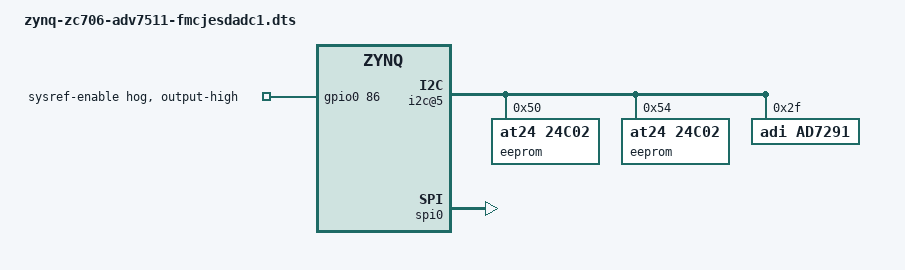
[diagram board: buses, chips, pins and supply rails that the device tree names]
// SPDX-License-Identifier: GPL-2.0
/*
 * Analog Devices AD-FMCOMMS11-EBZ
 * https://wiki.analog.com/resources/eval/user-guides/ad-fmcjesdadc1-ebz
 *
 * hdl_project: <fmcjesdadc1/zc706>
 * board_revision: <>
 *
 * Copyright (C) 2014-2020 Analog Devices Inc.
*/
/dts-v1/;

#include "zynq-zc706.dtsi"
#include "zynq-zc706-adv7511.dtsi"
#include <dt-bindings/jesd204/adxcvr.h>

&i2c_mux {
	i2c@5 { /* HPC IIC */
		#address-cells = <1>;
		#size-cells = <0>;
		reg = <5>;

		eeprom@50 {
			compatible = "at24,24c02";
			reg = <0x50>;
		};

		eeprom@54 {
			compatible = "at24,24c02";
			reg = <0x54>;
		};

		ad7291@2f {
			compatible = "adi,ad7291";
			reg = <0x2f>;
		};
	};
};

&fpga_axi {
	rx_dma0: rx-dmac@7c420000 {
		compatible = "adi,axi-dmac-1.00.a";
		reg = <0x7c420000 0x10000>;
		#dma-cells = <1>;
		interrupts = <0 57 IRQ_TYPE_LEVEL_HIGH>;
		clocks = <&clkc 16>;

		adi,channels {
			#address-cells = <1>;
			#size-cells = <0>;

			dma-channel@0 {
				reg = <0>;
				adi,source-bus-width = <64>;
				adi,source-bus-type = <2>;
				adi,destination-bus-width = <64>;
				adi,destination-bus-type = <0>;
			};
		};
	};

	rx_dma1: rx-dmac@7c430000 {
		compatible = "adi,axi-dmac-1.00.a";
		reg = <0x7c430000 0x10000>;
		#dma-cells = <1>;
		interrupts = <0 56 IRQ_TYPE_LEVEL_HIGH>;
		clocks = <&clkc 16>;

		adi,channels {
			#address-cells = <1>;
			#size-cells = <0>;

			dma-channel@0 {
				reg = <0>;
				adi,source-bus-width = <64>;
				adi,source-bus-type = <2>;
				adi,destination-bus-width = <64>;
				adi,destination-bus-type = <0>;
			};
		};
	};

	axi_ad9250_core0: axi-ad9250-hpc-0@44a10000 {
		compatible = "xlnx,axi-ad9250-1.00.a";
		reg = <0x44a10000 0x10000>;
		dmas = <&rx_dma0 0>;
		dma-names = "rx";

		spibus-connected = <&adc0_ad9250>;
	};

	axi_ad9250_core1: axi-ad9250-hpc-1@44a20000 {
		compatible = "xlnx,axi-ad9250-1.00.a";
		reg = <0x44a20000 0x10000>;
		dmas = <&rx_dma1 0>;
		dma-names = "rx";

		spibus-connected = <&adc1_ad9250>;
	};

	axi_jesd: axi-jesd204-rx@44aa0000 {
		compatible = "adi,axi-jesd204-rx-1.0";
		reg = <0x44aa0000 0x1000>;

		interrupts = <0 55 IRQ_TYPE_LEVEL_HIGH>;

		clocks = <&clkc 16>, <&axi_adxcvr 1>, <&axi_adxcvr 0>;
		clock-names = "s_axi_aclk", "device_clk", "lane_clk";

		#clock-cells = <0>;
		clock-output-names = "jesd_adc_lane_clk";

		adi,octets-per-frame = <2>;
		adi,frames-per-multiframe = <32>;
	};

	axi_adxcvr: axi-adxcvr-rx@44a60000 {
		compatible = "adi,axi-adxcvr-1.0";
		reg = <0x44a60000 0x1000>;

		clocks = <&clk_ad9517 0>;
		clock-names = "conv";

		#clock-cells = <1>;
		clock-output-names = "adc_gt_clk", "rx_out_clk";

		adi,sys-clk-select = <XCVR_CPLL>;
		adi,out-clk-select = <XCVR_OUTCLK_PMA>;
	};
};

&gpio0 {
	sysref_enable {
		gpio-hog;
		gpios = <86 0>;
		output-high;
		line-name = "sysref-enable";
	};
};

&spi0 {
	status = "okay";
};

#define fmc_spi spi0

#include "adi-fmcjesdadc1.dtsi"
